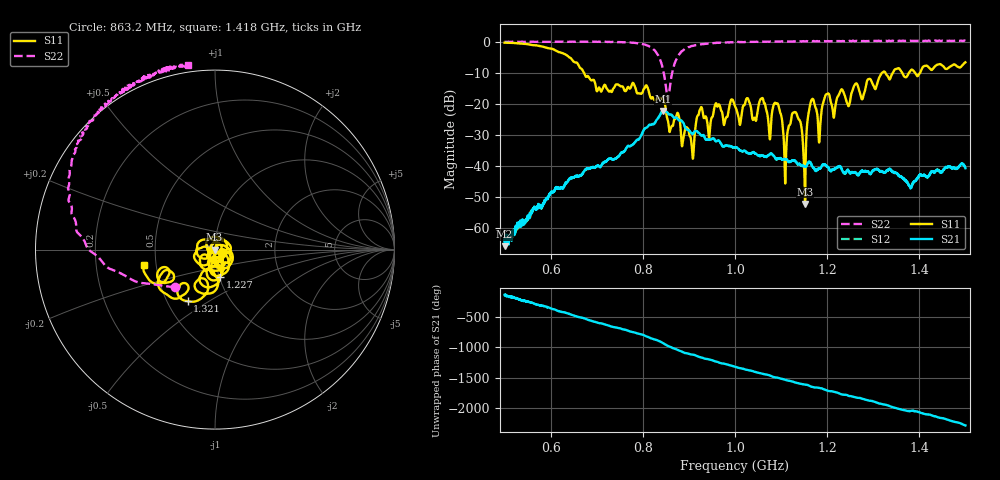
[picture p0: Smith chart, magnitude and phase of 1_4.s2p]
!Keysight Technologies,N5242B,MY48420860,A.13.80.08
!Date: Saturday, September 26, 2020 12:59:05
!Correction: S11(Full 2 Port(1,2))
!S21(Full 2 Port(1,2))
!S12(Full 2 Port(1,2))
!S22(Full 2 Port(1,2))
!S2P File: Measurements: S11, S21, S12, S22:
# Hz S  dB  R 50
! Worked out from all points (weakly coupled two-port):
!   2650 points, 500 MHz to 1.5 GHz, reference 50 ohm
!   highest |S21| = -22.25 dB at 843.5 MHz (marker M1); lowest = -65.9 dB at 500 MHz (marker M2)
!   lowest |S11| = -52.3 dB at 1.152 GHz (marker M3), VSWR 1.00, Z = 49.8 - j0.105 ohm
!   |S11| at or under -10 dB: 672.5 MHz to 1.319 GHz (646.3 MHz wide, 64.9 % of centre); 1.327 GHz to 1.342 GHz (15.85 MHz wide, 1.19 % of centre); 1.363 GHz to 1.378 GHz (14.35 MHz wide, 1.05 % of centre) (the widest 3 of 4)
!   |S22| runs from -18.7 to 0.5 dB; largest |S21 - S12| = 0.00039
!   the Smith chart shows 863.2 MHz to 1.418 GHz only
!   S11 on the Smith chart (normalised r, x): 863.2 MHz: 1.09, -0.04; 1.227 GHz: 1.01, -0.31; 1.321 GHz: 0.63, -0.41; 1.418 GHz: 0.43, -0.09
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5e8  -0.24 -166.2  -65.94 -144.4  -64.61 -149.3  0.05 147.7
6.045678e8  -2.29 126.5  -48.53 -17.1  -48.64 -16.9  0.06 139.5
6.668554e8  -8.66 77.0  -42.91 -157.6  -42.95 -158.6  0.06 133.1
8.337108e8  -18.07 10.1  -24.45 -176.2  -24.46 -176.3  -4.45 66.1
8.435259e8  -18.44 -18.2  -22.25 144.4  -22.28 144.3  -8.75 41.4
8.540959e8  -25.26 -45.3  -22.95 99.8  -22.99 99.7  -18.69 -46.2
8.631559e8  -27.09 -21.7  -23.63 69.9  -23.66 69.8  -10.32 -137.2
8.952435e8  -27.57 52.6  -28.22 -21.9  -28.19 -21.9  -2.00 168.4
1.000189e9  -20.79 -112.3  -33.98 119.3  -34.06 119.3  -0.06 136.3
1.059456e9  -18.09 -156.4  -36.64 3.8  -36.68 4.2  0.07 128.6
1.074934e9  -30.74 178.7  -36.30 -23.4  -36.34 -22.8  0.10 126.9
1.090411e9  -19.97 171.3  -37.83 -59.1  -37.85 -59.9  0.14 125.5
1.109287e9  -44.83 -54.7  -37.88 -96.3  -37.97 -96.2  0.15 124.1
1.130427e9  -22.67 50.6  -38.43 -140.4  -38.51 -140.6  0.20 122.0
1.151944e9  -52.34 -154.3  -40.30 -175.6  -40.28 -176.1  0.16 120.0
1.166667e9  -18.59 -39.6  -39.85 147.3  -39.87 148.1  0.15 118.6
1.182899e9  -32.41 -58.2  -40.86 129.9  -40.82 129.5  0.21 117.2
1.227444e9  -16.24 -78.5  -40.07 37.0  -40.21 37.4  0.27 114.3
1.321065e9  -9.75 -118.0  -41.95 -137.8  -42.14 -137.5  0.34 107.0
1.333522e9  -11.66 -134.1  -41.23 -160.3  -41.15 -161.0  0.40 105.4
1.417705e9  -7.82 -167.5  -43.64 56.4  -43.82 55.0  0.33 98.2
1.5e9  -6.58 169.3  -40.77 -123.9  -40.65 -123.1  0.37 92.0
